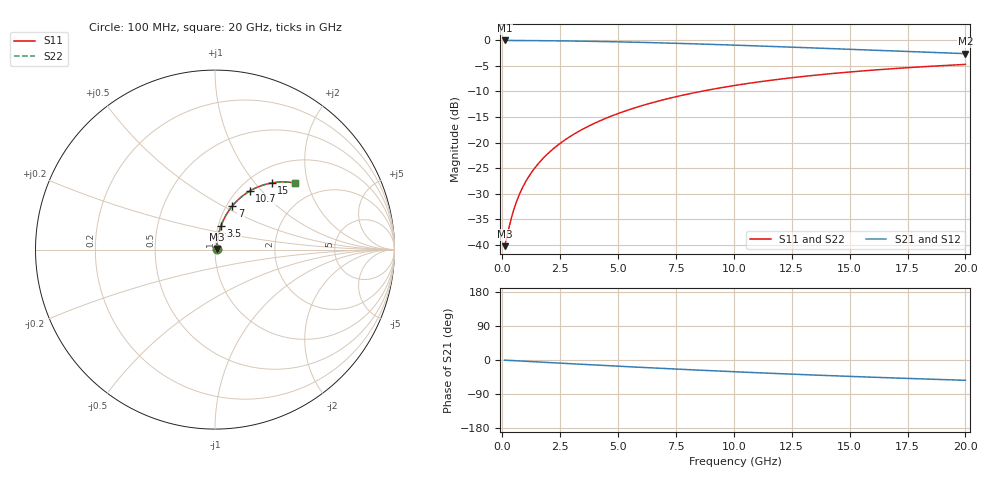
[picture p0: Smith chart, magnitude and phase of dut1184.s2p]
! Touchstone file exported from HFSS 2024.1.0
!  File:  C:/UserFiles/LocalFiles/RDL_TSV_Batchsim/temp_RDL_bottom_1184_1780057362.aedt
!  Generated:  08:25:13 PM May 29, 2026
!  Design:  RDL_bottom
!  Project:  temp_RDL_bottom_1184_1780057362
!  Setup:  Setup1
!  Solution:  Sweep
! Variables:
!  dtsv = 10.80580581um
!  hbump = 3um
!  htsv = 63.93um
!  ldown = 688.1um
!  lrdl = 100um
!  p = 40
!  p1 = 53.98um
!  rhole = 1um
!  t = 450um
!  tdown = 2.31um
!  trdl = 3.915915916um
!  wdown = 11.91um
!  wrdl = 20um
# GHz S MA R 50.000000
! Terminal data exported
! Port[1] = RDL1_T1
! Port[2] = RDL1_T2
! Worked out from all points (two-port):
!   200 points, 100 MHz to 20 GHz, reference 50 ohm
!   highest |S21| = -0.08 dB at 100 MHz (marker M1); lowest = -2.7 dB at 20 GHz (marker M2)
!   |S21| within 3 dB of the highest: start of sweep to end of sweep
!   lowest |S11| = -40.2 dB at 100 MHz (marker M3), VSWR 1.02, Z = 50.9 + j0.412 ohm
!   |S11| at or under -10 dB: start of sweep to 8.604 GHz
!   |S22| runs from -40.2 to -4.8 dB; largest |S21 - S12| = 2.5e-15
!   S11 on the Smith chart (normalised r, x): 100 MHz: 1.02, +0.01; 3.5 GHz: 1.03, +0.28; 7 GHz: 1.06, +0.56; 10.7 GHz: 1.13, +0.86; 15 GHz: 1.26, +1.23; 20 GHz: 1.49, +1.66
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0.1  0.009742 24.5  0.9911 -0.3  0.9911 -0.3  0.009742 24.5
! Gamma 0 0 0 0
! Port Impedance 50 0 50 0
0.4  0.01862 59.7  0.9907 -1.4  0.9907 -1.4  0.01862 59.7
0.6  0.02597 67.3  0.9902 -2.0  0.9902 -2.0  0.02597 67.3
0.7  0.02974 69.5  0.9899 -2.4  0.9899 -2.4  0.02974 69.5
0.9  0.03731 72.4  0.9893 -3.1  0.9893 -3.1  0.03731 72.4
1.2  0.04872 74.8  0.9883 -4.0  0.9883 -4.0  0.04872 74.8
1.4  0.05633 75.8  0.9875 -4.7  0.9875 -4.7  0.05633 75.7
1.7  0.06776 76.5  0.9862 -5.7  0.9862 -5.7  0.06776 76.5
2.2  0.0868 77.0  0.9838 -7.3  0.9838 -7.3  0.0868 77.0
2.8  0.1096 76.7  0.9802 -9.3  0.9802 -9.3  0.1096 76.7
3.5  0.1361 75.8  0.975 -11.6  0.975 -11.6  0.1361 75.8
4.2  0.1623 74.5  0.969 -13.8  0.969 -13.8  0.1623 74.5
5  0.1918 72.9  0.961 -16.3  0.961 -16.3  0.1918 72.9
6.8  0.256 68.7  0.9395 -21.8  0.9395 -21.8  0.256 68.7
7  0.2629 68.2  0.9369 -22.4  0.9369 -22.4  0.2629 68.2
8.5  0.3129 64.6  0.9157 -26.8  0.9157 -26.8  0.3129 64.6
10.1  0.3624 60.7  0.8913 -31.2  0.8913 -31.2  0.3624 60.7
10.7  0.3799 59.3  0.8818 -32.8  0.8818 -32.8  0.3799 59.3
13.4  0.4513 53.1  0.8381 -39.6  0.8381 -39.6  0.4513 53.0
15  0.488 49.6  0.8124 -43.3  0.8124 -43.3  0.4879 49.6
16.7  0.5226 46.1  0.7857 -47.0  0.7857 -47.0  0.5226 46.1
20  0.5785 39.9  0.737 -53.5  0.737 -53.5  0.5784 39.9
